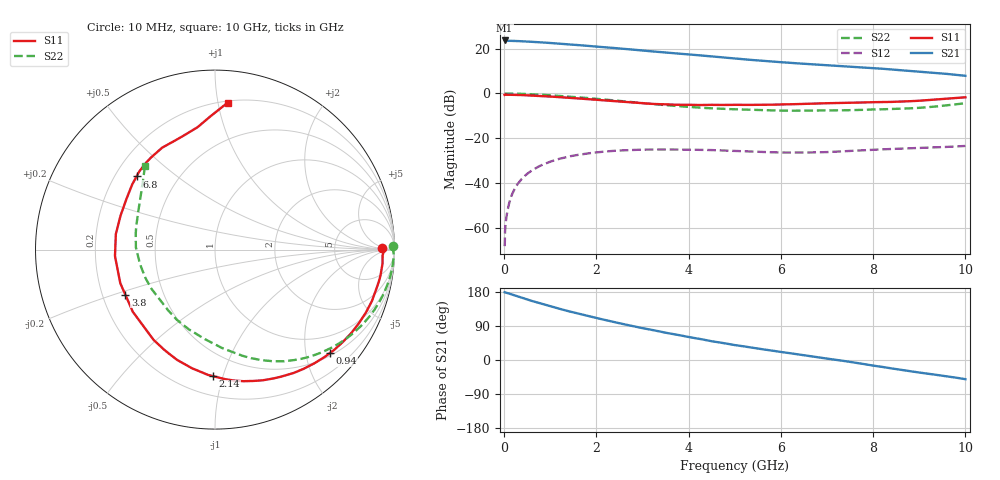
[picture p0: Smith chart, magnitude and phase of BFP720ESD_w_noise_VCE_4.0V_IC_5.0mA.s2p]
! Infineon Technologies  Discrete & RF Semiconductors
! BFP720ESD
! VCE =  4.0 V,  IC =  5.0 mA
! Common Emitter S-Parameters:  Jan 2016
# GHz  S  MA  R  50
!  f  S11  S21  S12  S22
! GHz  MAG  ANG  MAG  ANG  MAG  ANG  MAG  ANG
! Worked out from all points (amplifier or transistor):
!   233 points, 10 MHz to 10 GHz, reference 50 ohm
!   highest |S21| = 23.6 dB at 10 MHz (marker M1)
!   |S21| within 3 dB of that: start of sweep to 2.163 GHz
!   unconditionally stable (mu >= 1): 5.764 GHz to 9.287 GHz
!   at 200 MHz: K = 0.11, MSG = 33.5 dB, |S12| = -43.6 dB
!   at 1.74 GHz: K = 0.27, MSG = 24.1 dB, |S12| = -26.9 dB
!   at 10 GHz: K = 0.69, MSG = 15.6 dB, |S12| = -23.4 dB
!   lowest NFmin = 0.54 dB at 450 MHz
!   S11 on the Smith chart (normalised r, x): 10 MHz: 27, +3; 940 MHz: 0.56, -2.50; 2.14 GHz: 0.33, -0.93; 3.8 GHz: 0.30, -0.22; 6.8 GHz: 0.29, +0.37; 10 GHz: 0.21, +1.07
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0.01  0.93 0.5  15.12 178.8  0.0004 -40.1  0.9929 1.2
0.02  0.9404 -0.6  14.84 178.4  0.0009 55.1  0.9919 -0.3
0.06  0.9346 -2.5  14.79 177.0  0.0021 80.0  0.9954 -1.6
0.22  0.9315 -10.1  14.73 170.7  0.0073 79.9  0.991 -6.7
0.38  0.921 -17.3  14.51 164.4  0.0125 76.5  0.9803 -11.5
0.6  0.9004 -27.2  14.11 155.9  0.0193 70.5  0.9602 -17.9
0.94  0.8614 -42.0  13.42 144.0  0.0288 61.2  0.9186 -27.4
1.3  0.8151 -57.5  12.64 131.9  0.0374 51.9  0.8673 -37.0
1.68  0.7647 -72.9  11.77 120.0  0.0443 43.0  0.8097 -46.3
2.14  0.7055 -90.8  10.75 106.9  0.0505 33.6  0.7406 -56.8
2.4  0.6736 -100.9  10.23 99.7  0.0532 28.6  0.7009 -62.6
2.78  0.6288 -115.8  9.466 89.6  0.0555 21.8  0.6413 -71.0
3.4  0.5759 -139.0  8.316 74.6  0.0566 12.8  0.5607 -83.6
3.8  0.5592 -153.4  7.682 65.5  0.0564 8.4  0.5194 -91.9
4.5  0.5584 -176.3  6.695 49.5  0.055 1.7  0.4675 -108.2
5.1  0.5576 168.9  5.879 37.7  0.0521 -1.5  0.4405 -120.4
6  0.5683 150.3  4.968 21.2  0.0484 -1.7  0.4146 -137.9
6.8  0.5976 137.0  4.367 7.3  0.0491 1.1  0.4162 -154.1
7.6  0.6249 124.7  3.911 -6.8  0.0533 2.7  0.4269 -171.5
8.4  0.6488 109.2  3.418 -22.2  0.0582 0.7  0.4506 168.5
9  0.6889 98.1  3.064 -33.1  0.0614 -1.0  0.479 153.0
10  0.822 85.0  2.47 -50.6  0.0679 -4.8  0.6074 130.0
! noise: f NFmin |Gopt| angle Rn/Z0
0.45  0.54  0.48  5  0.15
0.9  0.58  0.47  13  0.15
1.9  0.62  0.41  32  0.14
2.4  0.67  0.38  38  0.14
5.5  0.9  0.17  118  0.09
10  1.55  0.55  -99  0.38
